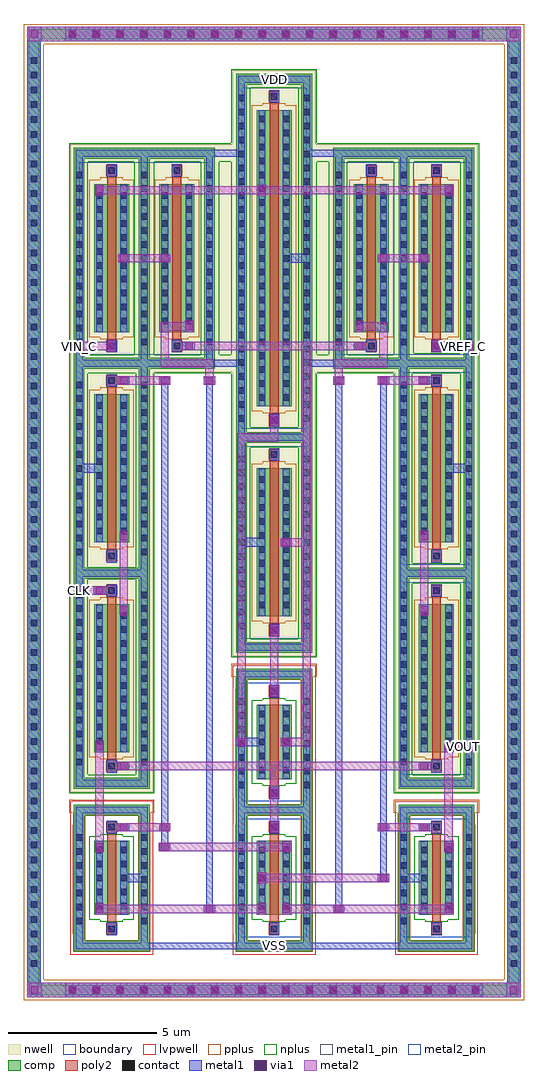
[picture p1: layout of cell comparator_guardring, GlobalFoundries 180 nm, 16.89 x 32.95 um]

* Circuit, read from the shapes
.subckt comparator_guardring CLK VDD VIN_C VOUT VREF_C VSS
XM1 VSS VOUT n1 VSS nfet_03v3 w=2.5u l=0.3u
XM2 VOUT CLK n1 VSS nfet_03v3 w=2.5u l=0.3u
XM3 n2 CLK VSS VSS nfet_03v3 w=2.5u l=0.3u
XM4 VOUT n1 VSS VSS nfet_03v3 w=2.5u l=0.3u
XM5 n3 CLK n1 VDD pfet_03v3 w=5u l=0.3u
XM6 n3 VOUT VDD VDD pfet_03v3 w=5u l=0.3u
XM7 n4 VIN_C n5 VDD pfet_03v3 w=5u l=0.3u
XM8 n1 n2 n4 VDD pfet_03v3 w=5u l=0.3u
XM9 n2 CLK VDD VDD pfet_03v3 w=5u l=0.3u
XM10 VDD VSS n5 VDD pfet_03v3 w=10u l=0.3u
XM11 n6 n2 VOUT VDD pfet_03v3 w=5u l=0.3u
XM12 VOUT CLK n7 VDD pfet_03v3 w=5u l=0.3u
XM13 VDD n1 n7 VDD pfet_03v3 w=5u l=0.3u
XM14 n5 VREF_C n6 VDD pfet_03v3 w=5u l=0.3u
.ends

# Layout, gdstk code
import gdstk
lib = gdstk.Library(unit=1e-6, precision=5e-09)
def R(c, l, rs):  # rectangles x0, y0, x1, y1
    for r in rs: c.add(gdstk.rectangle(r[:2], r[2:], *l))
def A(c, l, x, y, w, h, nx, ny, dx, dy):  # array of equal rectangles
    R(c, l, [(x+i*dx, y+j*dy, x+i*dx+w, y+j*dy+h) for i in range(nx) for j in range(ny)])
def P(c, l, *ps):  # polygons
    for p in ps: c.add(gdstk.Polygon(p, *l))
boundary = (0, 0)
nwell = (21, 0)
comp = (22, 0)
poly2 = (30, 0)
pplus = (31, 0)
nplus = (32, 0)
contact = (33, 0)
metal1 = (34, 0)
metal1_pin = (34, 10)
via1 = (35, 0)
metal2 = (36, 0)
metal2_pin = (36, 10)
lvpwell = (204, 0)

comparator_guardring = lib.new_cell('comparator_guardring')
A(comparator_guardring, boundary, 249.36, 51.16, 2.2, 6.5, 1, 3, 0, 7.09)
R(comparator_guardring, boundary, [(243.88,45.67,246.08,49.67), (249.36,45.67,251.56,49.67), (243.88,50.26,246.08,54.26), (243.88,55.75,246.08,62.25), (243.88,62.84,246.08,74.34), (238.395,65.34,240.595,71.84), (240.595,65.34,242.795,71.84), (247.16,65.34,249.36,71.84)])
A(comparator_guardring, nwell, 249.06, 50.565, 2.8, 7.69, 1, 3, 0, 7.09)
R(comparator_guardring, nwell, [(238.095,50.565,240.895,64.745), (243.58,55.155,246.38,62.845), (243.58,62.245,246.38,74.935), (238.095,64.745,240.895,72.435), (238.28,64.745,243.6,72.435), (240.295,64.745,243.095,72.435), (246.36,64.745,251.445,72.435), (246.86,64.745,249.66,72.435)])
A(comparator_guardring, comp, 237.995, 43.71, 0.36, 0.36, 18, 2, 0.8, 32.27)
A(comparator_guardring, comp, 236.69, 44.595, 0.36, 0.36, 1, 62, 0, 0.5)
A(comparator_guardring, comp, 252.9, 44.595, 0.36, 0.36, 1, 62, 0, 0.5)
A(comparator_guardring, comp, 238.215, 50.685, 2.56, 0.36, 1, 4, 0, 7.09)
A(comparator_guardring, comp, 238.215, 51.045, 0.36, 6.73, 1, 3, 0, 7.09)
A(comparator_guardring, comp, 240.415, 51.045, 0.36, 6.73, 1, 3, 0, 7.09)
A(comparator_guardring, comp, 249.18, 51.045, 0.36, 6.73, 1, 3, 0, 7.09)
A(comparator_guardring, comp, 251.38, 51.045, 0.36, 6.73, 1, 3, 0, 7.09)
A(comparator_guardring, comp, 238.905, 51.91, 1.18, 5, 1, 3, 0, 7.09)
A(comparator_guardring, comp, 249.87, 51.91, 1.18, 5, 1, 3, 0, 7.09)
R(comparator_guardring, comp, [(237.995,43.71,251.955,44.07), (236.69,44.595,237.05,75.455), (252.9,44.595,253.26,75.455), (238.215,45.195,240.775,45.555), (243.7,45.195,246.26,45.555), (249.18,45.195,251.74,45.555), (238.215,45.555,238.575,49.785), (240.415,45.555,240.775,49.785), (243.7,45.555,244.06,49.785), (245.9,45.555,246.26,49.785), (249.18,45.555,249.54,49.785), (251.38,45.555,251.74,49.785), (238.905,46.42,240.085,48.92), (244.39,46.42,245.57,48.92), (249.87,46.42,251.05,48.92), (238.215,49.785,240.775,50.145), (243.7,49.785,246.26,50.145), (243.7,49.785,246.26,50.145), (249.18,49.785,251.74,50.145), (243.7,50.145,244.06,54.375), (245.9,50.145,246.26,54.375), (249.18,50.685,251.74,51.045), (244.39,51.01,245.57,53.51), (243.7,54.375,246.26,54.735), (243.7,55.275,246.26,55.635), (243.7,55.635,244.06,62.365), (245.9,55.635,246.26,62.365), (244.39,56.5,245.57,61.5), (249.18,57.775,251.74,58.135), (249.18,57.775,251.74,58.135), (243.7,62.365,246.26,62.725), (243.7,62.365,246.26,62.725), (243.7,62.725,244.06,74.455), (245.9,62.725,246.26,74.455), (244.39,63.59,245.57,73.59), (238.215,64.865,242.975,65.225), (240.415,64.865,242.975,65.225), (246.98,64.865,249.54,65.225), (249.18,64.865,251.74,65.225), (249.18,64.865,251.74,65.225), (238.215,65.225,238.575,71.955), (240.415,65.225,240.775,71.955), (240.415,65.225,240.775,71.955), (242.615,65.225,242.975,71.955), (242.615,65.225,242.975,71.955), (246.98,65.225,247.34,71.955), (249.18,65.225,249.54,71.955), (238.905,66.09,240.085,71.09), (241.105,66.09,242.285,71.09), (241.105,66.09,242.285,71.09), (247.67,66.09,248.85,71.09), (238.215,71.955,242.975,72.315), (240.415,71.955,242.975,72.315), (246.98,71.955,249.54,72.315), (249.18,71.955,251.74,72.315), (243.7,74.455,246.26,74.815), (237.995,75.98,251.955,76.34)])
P(comparator_guardring, comp, [(236.69,43.71),(236.69,44.07),(237.05,44.07),(252.9,44.07),(252.9,75.98),(237.05,75.98),(237.05,44.07),(236.69,44.07),(236.69,76.34),(253.26,76.34),(253.26,43.71)])
A(comparator_guardring, poly2, 239.345, 51.625, 0.3, 5.57, 1, 3, 0, 7.09)
A(comparator_guardring, poly2, 250.31, 51.625, 0.3, 5.57, 1, 3, 0, 7.09)
R(comparator_guardring, poly2, [(239.315,45.775,239.675,46.135), (244.8,45.775,245.16,46.135), (250.28,45.775,250.64,46.135), (239.345,46.135,239.645,49.205), (244.83,46.135,245.13,49.205), (250.31,46.135,250.61,49.205), (239.315,49.205,239.675,49.565), (244.8,49.205,245.16,49.565), (250.28,49.205,250.64,49.565), (244.8,50.365,245.16,50.725), (244.83,50.725,245.13,53.795), (239.315,51.265,239.675,51.625), (250.28,51.265,250.64,51.625), (244.8,53.795,245.16,54.155), (244.8,55.855,245.16,56.215), (244.83,56.215,245.13,61.785), (239.315,57.195,239.675,57.555), (250.28,57.195,250.64,57.555), (239.315,58.355,239.675,58.715), (250.28,58.355,250.64,58.715), (244.8,61.785,245.16,62.145), (244.8,62.945,245.16,63.305), (244.83,63.305,245.13,73.875), (239.315,64.285,239.675,64.645), (250.28,64.285,250.64,64.645), (239.315,65.445,239.675,65.805), (239.315,65.445,239.675,65.805), (241.515,65.445,241.875,65.805), (241.515,65.445,241.875,65.805), (248.08,65.445,248.44,65.805), (250.28,65.445,250.64,65.805), (239.345,65.805,239.645,71.375), (241.545,65.805,241.845,71.375), (241.545,65.805,241.845,71.375), (248.11,65.805,248.41,71.375), (239.315,71.375,239.675,71.735), (239.315,71.375,239.675,71.735), (241.515,71.375,241.875,71.735), (241.515,71.375,241.875,71.735), (248.08,71.375,248.44,71.735), (250.28,71.375,250.64,71.735), (244.8,73.875,245.16,74.235)])
A(comparator_guardring, pplus, 238.745, 51.75, 1.5, 5.32, 1, 3, 0, 7.09)
A(comparator_guardring, pplus, 249.71, 51.75, 1.5, 5.32, 1, 3, 0, 7.09)
R(comparator_guardring, pplus, [(238.195,45.175,240.795,45.575), (243.68,45.175,246.28,45.575), (249.16,45.175,251.76,45.575), (238.195,45.575,238.605,45.79), (240.385,45.575,240.795,45.79), (243.68,45.575,244.09,45.79), (245.87,45.575,246.28,45.79), (249.16,45.575,249.57,45.79), (251.35,45.575,251.76,45.79), (238.185,45.79,238.605,49.465), (240.385,45.79,240.805,49.465), (243.67,45.79,244.09,49.465), (245.87,45.79,246.29,49.465), (249.15,45.79,249.57,49.465), (251.35,45.79,251.77,49.465), (238.195,49.465,238.605,49.765), (240.385,49.465,240.795,49.765), (243.68,49.465,244.09,49.765), (245.87,49.465,246.28,49.765), (249.16,49.465,249.57,49.765), (251.35,49.465,251.76,49.765), (238.195,49.765,240.795,49.975), (243.68,49.765,246.28,50.165), (243.68,49.765,246.28,50.165), (249.16,49.765,251.76,50.165), (238.055,49.875,240.935,50.305), (249.02,49.875,251.9,50.305), (238.055,49.975,240.935,50.305), (249.02,49.975,249.16,50.165), (251.76,49.975,251.9,50.165), (243.68,50.165,244.09,50.38), (245.87,50.165,246.28,50.38), (249.02,50.165,251.9,50.305), (243.67,50.38,244.09,54.055), (245.87,50.38,246.29,54.055), (239.115,51.68,239.875,51.75), (250.08,51.68,250.84,51.75), (243.68,54.055,244.09,54.355), (245.87,54.055,246.28,54.355), (243.68,54.355,246.28,54.755), (243.54,54.465,246.42,54.895), (243.54,54.565,243.68,54.755), (246.28,54.565,246.42,54.755), (243.54,54.755,246.42,54.895), (244.6,56.27,245.36,56.34), (244.23,56.34,245.73,61.66), (239.115,57.07,239.875,57.14), (250.08,57.07,250.84,57.14), (239.115,58.77,239.875,58.84), (250.08,58.77,250.84,58.84), (244.6,61.66,245.36,61.73), (244.6,63.36,245.36,63.43), (244.23,63.43,245.73,73.75), (239.115,64.16,239.875,64.23), (250.08,64.16,250.84,64.23), (239.115,65.86,239.875,65.93), (239.115,65.86,239.875,65.93), (241.315,65.86,242.075,65.93), (241.315,65.86,242.075,65.93), (247.88,65.86,248.64,65.93), (250.08,65.86,250.84,65.93), (238.745,65.93,240.245,71.25), (240.945,65.93,242.445,71.25), (240.945,65.93,242.445,71.25), (247.51,65.93,249.01,71.25), (239.115,71.25,239.875,71.32), (239.115,71.25,239.875,71.32), (241.315,71.25,242.075,71.32), (241.315,71.25,242.075,71.32), (247.88,71.25,248.64,71.32), (250.08,71.25,250.84,71.32), (244.6,73.75,245.36,73.82)])
P(comparator_guardring, pplus, [(236.53,43.55),(236.53,44.23),(237.21,44.23),(252.74,44.23),(252.74,75.82),(237.21,75.82),(237.21,44.23),(236.53,44.23),(236.53,76.5),(253.42,76.5),(253.42,43.55)])
A(comparator_guardring, nplus, 249.02, 51.155, 0.63, 6.51, 1, 3, 0, 7.09)
A(comparator_guardring, nplus, 251.27, 51.155, 0.63, 6.51, 1, 3, 0, 7.09)
R(comparator_guardring, nplus, [(239.115,46.19,239.875,46.26), (244.6,46.19,245.36,46.26), (250.08,46.19,250.84,46.26), (238.745,46.26,240.245,49.08), (244.23,46.26,245.73,49.08), (249.71,46.26,251.21,49.08), (239.115,49.08,239.875,49.15), (244.6,49.08,245.36,49.15), (250.08,49.08,250.84,49.15), (238.055,50.525,240.935,51.155), (249.02,50.525,251.9,51.155), (244.6,50.78,245.36,50.85), (244.23,50.85,245.73,53.67), (238.055,51.155,238.685,57.755), (240.305,51.155,240.935,57.755), (244.6,53.67,245.36,53.74), (243.54,55.115,246.42,55.745), (243.54,55.745,244.17,62.255), (245.79,55.745,246.42,62.255), (249.02,57.615,251.9,58.245), (249.02,57.665,251.9,58.295), (238.055,57.755,240.935,58.155), (238.055,58.155,238.685,64.845), (240.305,58.155,240.935,64.705), (243.54,62.205,246.42,62.835), (243.54,62.255,246.42,62.885), (243.54,62.835,244.17,74.345), (245.79,62.835,246.42,74.345), (238.055,64.705,240.935,65.335), (240.255,64.705,243.135,65.335), (240.49,64.705,243.54,64.845), (246.42,64.705,251.445,65.335), (246.82,64.705,249.7,65.335), (249.02,64.705,251.9,65.335), (249.02,64.755,251.9,65.385), (238.24,64.845,243.54,65.245), (238.055,65.245,238.685,71.845), (240.49,65.245,243.54,65.335), (238.055,65.335,238.685,71.845), (240.255,65.335,240.885,71.845), (240.305,65.335,240.935,71.845), (240.385,65.335,240.805,71.845), (242.505,65.335,243.135,71.845), (242.585,65.335,243.005,71.845), (246.82,65.335,247.45,71.845), (249.07,65.335,249.7,71.845), (238.055,71.845,240.935,72.475), (238.24,71.845,243.54,72.475), (240.255,71.845,243.135,72.475), (246.42,71.845,251.445,72.475), (246.82,71.845,249.7,72.475), (249.02,71.845,251.9,72.475), (243.54,74.345,246.42,74.975)])
A(comparator_guardring, contact, 238.065, 43.78, 0.22, 0.22, 18, 2, 0.8, 32.27)
A(comparator_guardring, contact, 236.76, 44.665, 0.22, 0.22, 1, 62, 0, 0.5)
A(comparator_guardring, contact, 252.97, 44.665, 0.22, 0.22, 1, 62, 0, 0.5)
A(comparator_guardring, contact, 238.285, 46.105, 0.22, 0.22, 1, 7, 0, 0.47)
A(comparator_guardring, contact, 240.485, 46.105, 0.22, 0.22, 1, 7, 0, 0.47)
A(comparator_guardring, contact, 243.77, 46.105, 0.22, 0.22, 1, 7, 0, 0.47)
A(comparator_guardring, contact, 245.97, 46.105, 0.22, 0.22, 1, 7, 0, 0.47)
A(comparator_guardring, contact, 249.25, 46.105, 0.22, 0.22, 1, 7, 0, 0.47)
A(comparator_guardring, contact, 251.45, 46.105, 0.22, 0.22, 1, 7, 0, 0.47)
A(comparator_guardring, contact, 238.975, 46.62, 0.22, 0.22, 1, 5, 0, 0.47)
A(comparator_guardring, contact, 239.795, 46.62, 0.22, 0.22, 1, 5, 0, 0.47)
A(comparator_guardring, contact, 244.46, 46.62, 0.22, 0.22, 1, 5, 0, 0.47)
A(comparator_guardring, contact, 245.28, 46.62, 0.22, 0.22, 1, 5, 0, 0.47)
A(comparator_guardring, contact, 249.94, 46.62, 0.22, 0.22, 1, 5, 0, 0.47)
A(comparator_guardring, contact, 250.76, 46.62, 0.22, 0.22, 1, 5, 0, 0.47)
A(comparator_guardring, contact, 243.77, 50.695, 0.22, 0.22, 1, 7, 0, 0.47)
A(comparator_guardring, contact, 245.97, 50.695, 0.22, 0.22, 1, 7, 0, 0.47)
A(comparator_guardring, contact, 244.46, 51.21, 0.22, 0.22, 1, 5, 0, 0.47)
A(comparator_guardring, contact, 245.28, 51.21, 0.22, 0.22, 1, 5, 0, 0.47)
A(comparator_guardring, contact, 238.285, 51.48, 0.22, 0.22, 1, 13, 0, 0.47)
A(comparator_guardring, contact, 240.485, 51.48, 0.22, 0.22, 1, 13, 0, 0.47)
A(comparator_guardring, contact, 249.25, 51.48, 0.22, 0.22, 1, 13, 0, 0.47)
A(comparator_guardring, contact, 251.45, 51.48, 0.22, 0.22, 1, 13, 0, 0.47)
A(comparator_guardring, contact, 238.975, 52.185, 0.22, 0.22, 1, 10, 0, 0.47)
A(comparator_guardring, contact, 239.795, 52.185, 0.22, 0.22, 1, 10, 0, 0.47)
A(comparator_guardring, contact, 249.94, 52.185, 0.22, 0.22, 1, 10, 0, 0.47)
A(comparator_guardring, contact, 250.76, 52.185, 0.22, 0.22, 1, 10, 0, 0.47)
A(comparator_guardring, contact, 243.77, 56.07, 0.22, 0.22, 1, 13, 0, 0.47)
A(comparator_guardring, contact, 245.97, 56.07, 0.22, 0.22, 1, 13, 0, 0.47)
A(comparator_guardring, contact, 244.46, 56.775, 0.22, 0.22, 1, 10, 0, 0.47)
A(comparator_guardring, contact, 245.28, 56.775, 0.22, 0.22, 1, 10, 0, 0.47)
A(comparator_guardring, contact, 238.285, 58.57, 0.22, 0.22, 1, 13, 0, 0.47)
A(comparator_guardring, contact, 240.485, 58.57, 0.22, 0.22, 1, 13, 0, 0.47)
A(comparator_guardring, contact, 249.25, 58.57, 0.22, 0.22, 1, 13, 0, 0.47)
A(comparator_guardring, contact, 251.45, 58.57, 0.22, 0.22, 1, 13, 0, 0.47)
A(comparator_guardring, contact, 238.975, 59.275, 0.22, 0.22, 1, 10, 0, 0.47)
A(comparator_guardring, contact, 239.795, 59.275, 0.22, 0.22, 1, 10, 0, 0.47)
A(comparator_guardring, contact, 249.94, 59.275, 0.22, 0.22, 1, 10, 0, 0.47)
A(comparator_guardring, contact, 250.76, 59.275, 0.22, 0.22, 1, 10, 0, 0.47)
A(comparator_guardring, contact, 243.77, 63.075, 0.22, 0.22, 1, 24, 0, 0.47)
A(comparator_guardring, contact, 245.97, 63.075, 0.22, 0.22, 1, 24, 0, 0.47)
A(comparator_guardring, contact, 244.46, 63.78, 0.22, 0.22, 1, 21, 0, 0.47)
A(comparator_guardring, contact, 245.28, 63.78, 0.22, 0.22, 1, 21, 0, 0.47)
A(comparator_guardring, contact, 247.05, 65.66, 0.22, 0.22, 1, 13, 0, 0.47)
A(comparator_guardring, contact, 251.45, 65.66, 0.22, 0.22, 1, 13, 0, 0.47)
A(comparator_guardring, contact, 247.74, 66.365, 0.22, 0.22, 1, 10, 0, 0.47)
A(comparator_guardring, contact, 248.56, 66.365, 0.22, 0.22, 1, 10, 0, 0.47)
A(comparator_guardring, contact, 249.94, 66.365, 0.22, 0.22, 1, 10, 0, 0.47)
A(comparator_guardring, contact, 250.76, 66.365, 0.22, 0.22, 1, 10, 0, 0.47)
R(comparator_guardring, contact, [(239.385,45.845,239.605,46.065), (244.87,45.845,245.09,46.065), (250.35,45.845,250.57,46.065), (239.385,49.275,239.605,49.495), (244.87,49.275,245.09,49.495), (250.35,49.275,250.57,49.495), (244.87,50.435,245.09,50.655), (239.385,51.335,239.605,51.555), (250.35,51.335,250.57,51.555), (244.87,53.865,245.09,54.085), (244.87,55.925,245.09,56.145), (239.385,57.265,239.605,57.485), (250.35,57.265,250.57,57.485), (239.385,58.425,239.605,58.645), (250.35,58.425,250.57,58.645), (244.87,61.855,245.09,62.075), (244.87,63.015,245.09,63.235), (239.385,64.355,239.605,64.575), (250.35,64.355,250.57,64.575), (239.385,65.515,239.605,65.735), (239.385,65.515,239.605,65.735), (241.585,65.515,241.805,65.735), (241.585,65.515,241.805,65.735), (248.15,65.515,248.37,65.735), (250.35,65.515,250.57,65.735), (238.285,65.66,238.505,65.88), (238.285,65.66,238.505,65.88), (240.485,65.66,240.705,65.88), (240.485,65.66,240.705,65.88), (240.485,65.66,240.705,65.88), (242.685,65.66,242.905,65.88), (242.685,65.66,242.905,65.88), (249.25,65.66,249.47,65.88), (249.25,65.66,249.47,65.88), (238.285,66.13,238.505,66.35), (238.285,66.13,238.505,66.35), (240.485,66.13,240.705,66.35), (240.485,66.13,240.705,66.35), (240.485,66.13,240.705,66.35), (242.685,66.13,242.905,66.35), (242.685,66.13,242.905,66.35), (249.25,66.13,249.47,66.35), (249.25,66.13,249.47,66.35), (238.975,66.365,239.195,66.585), (238.975,66.365,239.195,66.585), (239.795,66.365,240.015,66.585), (239.795,66.365,240.015,66.585), (241.175,66.365,241.395,66.585), (241.175,66.365,241.395,66.585), (241.995,66.365,242.215,66.585), (241.995,66.365,242.215,66.585), (238.285,66.6,238.505,66.82), (238.285,66.6,238.505,66.82), (240.485,66.6,240.705,66.82), (240.485,66.6,240.705,66.82), (240.485,66.6,240.705,66.82), (242.685,66.6,242.905,66.82), (242.685,66.6,242.905,66.82), (249.25,66.6,249.47,66.82), (249.25,66.6,249.47,66.82), (238.975,66.835,239.195,67.055), (238.975,66.835,239.195,67.055), (239.795,66.835,240.015,67.055), (239.795,66.835,240.015,67.055), (241.175,66.835,241.395,67.055), (241.175,66.835,241.395,67.055), (241.995,66.835,242.215,67.055), (241.995,66.835,242.215,67.055), (238.285,67.07,238.505,67.29), (238.285,67.07,238.505,67.29), (240.485,67.07,240.705,67.29), (240.485,67.07,240.705,67.29), (240.485,67.07,240.705,67.29), (242.685,67.07,242.905,67.29), (242.685,67.07,242.905,67.29), (249.25,67.07,249.47,67.29), (249.25,67.07,249.47,67.29), (238.975,67.305,239.195,67.525), (238.975,67.305,239.195,67.525), (239.795,67.305,240.015,67.525), (239.795,67.305,240.015,67.525), (241.175,67.305,241.395,67.525), (241.175,67.305,241.395,67.525), (241.995,67.305,242.215,67.525), (241.995,67.305,242.215,67.525), (238.285,67.54,238.505,67.76), (238.285,67.54,238.505,67.76), (240.485,67.54,240.705,67.76), (240.485,67.54,240.705,67.76), (240.485,67.54,240.705,67.76), (242.685,67.54,242.905,67.76), (242.685,67.54,242.905,67.76), (249.25,67.54,249.47,67.76), (249.25,67.54,249.47,67.76), (238.975,67.775,239.195,67.995), (238.975,67.775,239.195,67.995), (239.795,67.775,240.015,67.995), (239.795,67.775,240.015,67.995), (241.175,67.775,241.395,67.995), (241.175,67.775,241.395,67.995), (241.995,67.775,242.215,67.995), (241.995,67.775,242.215,67.995), (238.285,68.01,238.505,68.23), (238.285,68.01,238.505,68.23), (240.485,68.01,240.705,68.23), (240.485,68.01,240.705,68.23), (240.485,68.01,240.705,68.23), (242.685,68.01,242.905,68.23), (242.685,68.01,242.905,68.23), (249.25,68.01,249.47,68.23), (249.25,68.01,249.47,68.23), (238.975,68.245,239.195,68.465), (238.975,68.245,239.195,68.465), (239.795,68.245,240.015,68.465), (239.795,68.245,240.015,68.465), (241.175,68.245,241.395,68.465), (241.175,68.245,241.395,68.465), (241.995,68.245,242.215,68.465), (241.995,68.245,242.215,68.465), (238.285,68.48,238.505,68.7), (238.285,68.48,238.505,68.7), (240.485,68.48,240.705,68.7), (240.485,68.48,240.705,68.7), (240.485,68.48,240.705,68.7), (242.685,68.48,242.905,68.7), (242.685,68.48,242.905,68.7), (249.25,68.48,249.47,68.7), (249.25,68.48,249.47,68.7), (238.975,68.715,239.195,68.935), (238.975,68.715,239.195,68.935), (239.795,68.715,240.015,68.935), (239.795,68.715,240.015,68.935), (241.175,68.715,241.395,68.935), (241.175,68.715,241.395,68.935), (241.995,68.715,242.215,68.935), (241.995,68.715,242.215,68.935), (238.285,68.95,238.505,69.17), (238.285,68.95,238.505,69.17), (240.485,68.95,240.705,69.17), (240.485,68.95,240.705,69.17), (240.485,68.95,240.705,69.17), (242.685,68.95,242.905,69.17), (242.685,68.95,242.905,69.17), (249.25,68.95,249.47,69.17), (249.25,68.95,249.47,69.17), (238.975,69.185,239.195,69.405), (238.975,69.185,239.195,69.405), (239.795,69.185,240.015,69.405), (239.795,69.185,240.015,69.405), (241.175,69.185,241.395,69.405), (241.175,69.185,241.395,69.405), (241.995,69.185,242.215,69.405), (241.995,69.185,242.215,69.405), (238.285,69.42,238.505,69.64), (238.285,69.42,238.505,69.64), (240.485,69.42,240.705,69.64), (240.485,69.42,240.705,69.64), (240.485,69.42,240.705,69.64), (242.685,69.42,242.905,69.64), (242.685,69.42,242.905,69.64), (249.25,69.42,249.47,69.64), (249.25,69.42,249.47,69.64), (238.975,69.655,239.195,69.875), (238.975,69.655,239.195,69.875), (239.795,69.655,240.015,69.875), (239.795,69.655,240.015,69.875), (241.175,69.655,241.395,69.875), (241.175,69.655,241.395,69.875), (241.995,69.655,242.215,69.875), (241.995,69.655,242.215,69.875), (238.285,69.89,238.505,70.11), (238.285,69.89,238.505,70.11), (240.485,69.89,240.705,70.11), (240.485,69.89,240.705,70.11), (240.485,69.89,240.705,70.11), (242.685,69.89,242.905,70.11), (242.685,69.89,242.905,70.11), (249.25,69.89,249.47,70.11), (249.25,69.89,249.47,70.11), (238.975,70.125,239.195,70.345), (238.975,70.125,239.195,70.345), (239.795,70.125,240.015,70.345), (239.795,70.125,240.015,70.345), (241.175,70.125,241.395,70.345), (241.175,70.125,241.395,70.345), (241.995,70.125,242.215,70.345), (241.995,70.125,242.215,70.345), (238.285,70.36,238.505,70.58), (238.285,70.36,238.505,70.58), (240.485,70.36,240.705,70.58), (240.485,70.36,240.705,70.58), (240.485,70.36,240.705,70.58), (242.685,70.36,242.905,70.58), (242.685,70.36,242.905,70.58), (249.25,70.36,249.47,70.58), (249.25,70.36,249.47,70.58), (238.975,70.595,239.195,70.815), (238.975,70.595,239.195,70.815), (239.795,70.595,240.015,70.815), (239.795,70.595,240.015,70.815), (241.175,70.595,241.395,70.815), (241.175,70.595,241.395,70.815), (241.995,70.595,242.215,70.815), (241.995,70.595,242.215,70.815), (238.285,70.83,238.505,71.05), (238.285,70.83,238.505,71.05), (240.485,70.83,240.705,71.05), (240.485,70.83,240.705,71.05), (240.485,70.83,240.705,71.05), (242.685,70.83,242.905,71.05), (242.685,70.83,242.905,71.05), (249.25,70.83,249.47,71.05), (249.25,70.83,249.47,71.05), (238.285,71.3,238.505,71.52), (238.285,71.3,238.505,71.52), (240.485,71.3,240.705,71.52), (240.485,71.3,240.705,71.52), (240.485,71.3,240.705,71.52), (242.685,71.3,242.905,71.52), (242.685,71.3,242.905,71.52), (249.25,71.3,249.47,71.52), (249.25,71.3,249.47,71.52), (239.385,71.445,239.605,71.665), (239.385,71.445,239.605,71.665), (241.585,71.445,241.805,71.665), (241.585,71.445,241.805,71.665), (248.15,71.445,248.37,71.665), (250.35,71.445,250.57,71.665), (244.87,73.945,245.09,74.165)])
A(comparator_guardring, metal1, 237.925, 43.64, 0.5, 0.5, 18, 2, 0.8, 32.27)
A(comparator_guardring, metal1, 236.64, 44.545, 0.46, 0.46, 1, 62, 0, 0.5)
A(comparator_guardring, metal1, 252.85, 44.545, 0.46, 0.46, 1, 62, 0, 0.5)
A(comparator_guardring, metal1, 238.28, 50.75, 2.43, 0.23, 1, 4, 0, 7.09)
A(comparator_guardring, metal1, 240.48, 50.98, 0.23, 6.86, 1, 3, 0, 7.09)
A(comparator_guardring, metal1, 249.245, 50.98, 0.23, 6.86, 1, 3, 0, 7.09)
A(comparator_guardring, metal1, 251.445, 50.98, 0.23, 6.86, 1, 3, 0, 7.09)
A(comparator_guardring, metal1, 249.935, 51.92, 0.23, 4.98, 1, 3, 0, 7.09)
A(comparator_guardring, metal1, 250.755, 51.92, 0.23, 4.98, 1, 3, 0, 7.09)
R(comparator_guardring, metal1, [(236.64,43.64,237.1,44.07), (236.64,43.64,237.14,44.14), (236.64,43.64,237.14,44.14), (237.925,43.64,252.025,44.14), (252.81,43.64,253.31,44.14), (252.81,43.64,253.31,44.14), (252.85,43.64,253.31,44.07), (236.64,44.07,237.1,75.98), (252.85,44.07,253.31,75.98), (238.28,45.26,238.465,45.49), (238.465,45.26,250.355,45.49), (243.765,45.26,246.195,45.49), (249.245,45.26,251.675,45.49), (238.28,45.49,238.51,49.85), (240.48,45.49,240.71,47.52), (243.765,45.49,243.995,49.85), (245.965,45.49,246.195,49.85), (249.245,45.49,249.475,49.85), (251.445,45.49,251.675,49.85), (239.325,45.74,239.665,46.17), (244.81,45.74,245.15,46.17), (250.29,45.74,250.63,46.17), (238.955,46.43,239.215,46.81), (239.79,46.43,240.02,47.52), (244.44,46.43,244.7,46.81), (244.455,46.43,244.685,48.91), (245.26,46.43,245.52,46.81), (245.275,46.43,245.505,48.91), (249.935,46.43,250.165,48.91), (250.74,46.43,251,46.81), (250.755,46.43,250.985,48.91), (242.605,46.49,242.985,46.75), (246.97,46.49,247.35,46.75), (242.68,46.75,242.91,64.335), (247.045,46.75,247.275,64.335), (238.97,46.81,239.2,48.53), (244.44,47.48,244.715,47.86), (239.79,47.52,240.71,47.82), (249.34,47.52,249.945,47.82), (248.48,47.54,248.86,47.8), (248.555,47.8,248.785,49.255), (239.79,47.82,240.02,48.91), (240.48,47.82,240.71,49.85), (238.955,48.53,239.215,48.91), (245.26,48.53,245.52,48.91), (250.74,48.53,251,48.91), (241.095,48.59,241.475,48.85), (241.17,48.85,241.4,49.255), (239.325,49.17,239.665,49.255), (244.81,49.17,245.15,49.6), (250.29,49.17,250.63,49.6), (239.325,49.255,240.095,49.515), (241.095,49.255,241.475,49.515), (244.85,49.255,245.11,49.515), (248.48,49.255,248.86,49.515), (249.86,49.255,250.415,49.52), (239.325,49.515,239.665,49.6), (241.17,49.515,241.4,64.335), (248.555,49.515,248.785,64.335), (238.28,49.85,240.71,50.08), (243.765,49.85,246.195,50.08), (243.765,49.85,246.195,50.08), (249.245,49.85,251.675,50.08), (243.765,50.08,243.995,54.44), (245.965,50.08,246.195,54.44), (244.81,50.33,245.15,50.76), (244.85,50.415,245.11,50.675), (249.245,50.75,251.675,50.98), (238.28,50.98,238.51,57.84), (244.455,51.02,244.685,53.5), (245.275,51.02,245.505,53.5), (239.325,51.23,239.665,51.315), (250.29,51.23,250.63,51.66), (239.325,51.315,240.095,51.575), (249.86,51.315,250.315,51.575), (239.325,51.575,239.665,51.66), (238.955,51.92,239.215,52.3), (239.79,51.92,240.02,56.52), (250.74,51.92,251,52.3), (243.885,52.11,244.59,52.13), (243.69,52.13,244.59,52.26), (245.2,52.13,245.58,52.39), (243.69,52.26,244.595,52.39), (238.97,52.3,239.2,56.9), (243.89,52.39,244.595,52.41), (244.81,53.76,245.15,54.19), (244.85,53.845,245.11,54.105), (243.765,54.44,246.195,54.67), (243.765,55.34,246.195,55.57), (243.765,55.57,243.995,62.43), (245.965,55.57,246.195,62.43), (244.81,55.82,245.15,56.25), (244.85,55.905,245.11,56.165), (244.455,56.51,244.685,61.49), (245.275,56.51,245.505,61.49), (239.775,56.52,240.035,56.9), (249.92,56.52,250.18,56.9), (239.325,57.16,239.665,57.245), (250.29,57.16,250.63,57.59), (238.895,57.245,239.665,57.505), (239.325,57.505,239.665,57.59), (249.245,57.84,251.675,58.07), (249.245,57.84,251.675,58.07), (238.28,58.07,238.51,61.35), (239.325,58.32,239.665,58.75), (250.29,58.32,250.63,58.75), (243.87,58.85,244.585,59), (245.2,58.87,245.58,59.13), (243.875,59,244.59,59.15), (238.97,59.01,239.2,61.35), (239.775,59.01,240.035,59.39), (249.92,59.01,250.18,59.39), (239.79,59.39,240.02,63.99), (238.28,61.35,239.2,61.65), (250.955,61.35,251.505,61.65), (238.28,61.65,238.51,64.93), (238.97,61.65,239.2,63.99), (244.81,61.75,245.15,62.18), (243.765,62.43,246.195,62.66), (243.765,62.43,246.195,62.66), (243.765,62.66,243.995,74.52), (245.965,62.66,246.195,74.52), (244.81,62.91,245.15,63.34), (244.85,62.995,245.11,63.255), (244.455,63.6,244.685,73.58), (245.275,63.6,245.505,73.58), (239.325,64.25,239.665,64.335), (250.29,64.25,250.63,64.68), (239.325,64.335,240.095,64.595), (241.095,64.335,241.475,64.595), (242.605,64.335,242.985,64.595), (246.97,64.335,247.35,64.595), (248.48,64.335,248.86,64.595), (249.86,64.335,250.305,64.595), (239.325,64.595,239.665,64.68), (238.465,64.93,243.955,65.16), (240.48,64.93,242.91,65.16), (245.98,64.93,246.9,65.16), (246.9,64.93,247.045,65.16), (247.045,64.93,249.475,65.16), (249.245,64.93,251.675,65.16), (249.245,64.93,251.675,65.16), (238.28,65.16,238.51,72.02), (238.28,65.16,238.51,72.02), (240.48,65.16,240.71,72.02), (240.48,65.16,240.71,72.02), (242.68,65.16,242.91,72.02), (242.68,65.16,242.91,72.02), (247.045,65.16,247.275,72.02), (249.245,65.16,249.475,72.02), (239.325,65.41,239.665,65.84), (239.325,65.41,239.665,65.84), (241.525,65.41,241.865,65.84), (241.525,65.41,241.865,65.495), (248.09,65.41,248.43,65.84), (250.29,65.41,250.63,65.84), (241.525,65.495,242.295,65.755), (247.66,65.495,248.095,65.755), (248.095,65.495,248.43,65.755), (250.33,65.495,250.59,65.755), (241.525,65.755,241.865,65.84), (238.97,66.1,239.2,71.08), (238.97,66.1,239.2,70.7), (239.79,66.1,240.02,71.08), (239.79,66.1,240.02,68.46), (241.17,66.1,241.4,71.08), (241.17,66.1,241.4,68.46), (241.975,66.1,242.235,66.48), (241.99,66.1,242.22,71.08), (247.72,66.1,247.98,66.48), (247.735,66.1,247.965,71.08), (248.555,66.1,248.785,71.08), (241.99,66.48,242.22,71.08), (245.275,68.44,245.975,68.74), (239.715,68.46,240.095,68.72), (241.095,68.46,241.475,68.72), (248.48,68.46,248.86,68.72), (249.86,68.46,250.24,68.72), (239.79,68.72,240.02,71.08), (241.17,68.72,241.4,71.08), (238.955,70.7,239.215,71.08), (244.44,70.7,244.7,71.08), (250.74,70.7,251,71.08), (239.325,71.34,239.665,71.77), (239.325,71.34,239.665,71.77), (241.525,71.34,241.865,71.77), (241.525,71.34,241.865,71.77), (248.09,71.34,248.43,71.77), (250.29,71.34,250.63,71.77), (238.465,72.02,243.765,72.25), (240.48,72.02,242.91,72.25), (246.175,72.02,247.095,72.25), (247.045,72.02,249.475,72.25), (249.245,72.02,251.675,72.25), (244.81,73.84,245.15,74.27), (243.765,74.52,246.195,74.75), (244.865,74.52,245.095,74.75), (236.64,75.91,237.14,76.41), (236.64,75.91,237.14,76.41), (237.925,75.91,252.025,76.41), (252.81,75.91,253.31,76.41), (252.81,75.91,253.31,76.41), (236.64,75.98,237.1,76.41), (252.85,75.98,253.31,76.41)])
R(comparator_guardring, metal1_pin, [(244.865,45.26,245.095,45.49), (244.865,74.52,245.095,74.75)])
A(comparator_guardring, via1, 238.045, 43.76, 0.26, 0.26, 18, 2, 0.8, 32.27)
R(comparator_guardring, via1, [(236.76,43.76,237.02,44.02), (252.93,43.76,253.19,44.02), (238.955,46.49,239.215,46.75), (242.665,46.49,242.925,46.75), (244.44,46.49,244.7,46.75), (245.26,46.49,245.52,46.75), (247.03,46.49,247.29,46.75), (250.74,46.49,251,46.75), (244.445,47.54,244.705,47.8), (248.54,47.54,248.8,47.8), (238.955,48.59,239.215,48.85), (241.155,48.59,241.415,48.85), (245.26,48.59,245.52,48.85), (250.74,48.59,251,48.85), (239.775,49.255,240.035,49.515), (241.155,49.255,241.415,49.515), (244.85,49.255,245.11,49.515), (248.54,49.255,248.8,49.515), (249.92,49.255,250.18,49.515), (244.85,50.415,245.11,50.675), (239.775,51.315,240.035,51.575), (249.92,51.315,250.18,51.575), (238.955,51.98,239.215,52.24), (250.74,51.98,251,52.24), (243.75,52.13,244.01,52.39), (245.26,52.13,245.52,52.39), (244.85,53.845,245.11,54.105), (244.85,55.905,245.11,56.165), (239.775,56.58,240.035,56.84), (249.92,56.58,250.18,56.84), (238.955,57.245,239.215,57.505), (245.26,58.87,245.52,59.13), (239.775,59.07,240.035,59.33), (249.92,59.07,250.18,59.33), (244.85,62.995,245.11,63.255), (239.775,64.335,240.035,64.595), (241.155,64.335,241.415,64.595), (242.665,64.335,242.925,64.595), (247.03,64.335,247.29,64.595), (248.54,64.335,248.8,64.595), (249.92,64.335,250.18,64.595), (239.365,65.495,239.625,65.755), (241.975,65.495,242.235,65.755), (247.72,65.495,247.98,65.755), (250.33,65.495,250.59,65.755), (241.975,66.16,242.235,66.42), (247.72,66.16,247.98,66.42), (239.775,68.46,240.035,68.72), (241.155,68.46,241.415,68.72), (248.54,68.46,248.8,68.72), (249.92,68.46,250.18,68.72), (238.955,70.76,239.215,71.02), (244.44,70.76,244.7,71.02), (250.74,70.76,251,71.02), (236.76,76.03,237.02,76.29), (252.93,76.03,253.19,76.29)])
A(comparator_guardring, metal2, 237.925, 43.64, 0.5, 0.5, 18, 2, 0.8, 32.27)
R(comparator_guardring, metal2, [(236.64,43.64,237.05,44.14), (236.64,43.64,237.14,44.14), (236.64,43.64,237.14,44.14), (237.05,43.64,252.9,44.14), (252.81,43.64,253.31,44.14), (252.81,43.64,253.31,44.14), (252.9,43.64,253.31,44.14), (238.945,46.43,239.225,46.48), (244.43,46.43,244.71,46.48), (245.25,46.43,245.53,46.48), (250.73,46.43,251.01,46.48), (238.945,46.48,239.13,46.76), (239.13,46.48,244.71,46.76), (245.25,46.48,250.83,46.76), (250.83,46.48,251.01,46.76), (238.945,46.76,239.225,46.81), (244.43,46.76,244.71,46.81), (245.25,46.76,245.53,46.81), (250.73,46.76,251.01,46.81), (244.43,47.48,244.725,47.53), (244.43,47.53,248.68,47.81), (248.68,47.53,248.87,47.81), (244.43,47.81,244.725,47.86), (238.945,48.53,239.225,52.3), (245.25,48.53,245.53,48.58), (250.73,48.53,251.01,51.97), (241.08,48.58,241.28,48.86), (241.28,48.58,245.53,48.86), (245.25,48.86,245.53,48.91), (244.84,49.195,245.12,51.305), (239.715,49.245,241.475,49.525), (248.48,49.245,250.24,49.525), (239.695,51.305,239.9,51.585), (239.9,51.305,250.06,51.585), (250.06,51.305,250.29,51.585), (250.73,51.97,251.7,52.25), (243.69,52.12,244.07,52.4), (245.2,52.12,246.22,52.4), (250.73,52.25,251.01,52.3), (243.74,52.4,244.02,62.405), (245.94,52.4,246.22,58.86), (244.84,53.785,245.12,56.225), (239.765,56.52,240.045,59.39), (249.91,56.52,250.19,59.39), (238.255,57.235,239.275,57.515), (245.2,58.86,246.22,59.14), (245.94,59.14,246.22,65.485), (243.74,62.405,245.12,62.685), (244.84,62.685,245.12,63.315), (239.715,64.325,241.475,64.605), (242.605,64.325,242.985,64.605), (246.97,64.325,247.35,64.605), (248.48,64.325,250.24,64.605), (242.655,64.605,242.935,64.905), (247.02,64.605,247.3,64.905), (241.145,64.905,242.935,65.185), (247.02,64.905,248.81,65.185), (241.145,65.185,241.425,66.15), (248.53,65.185,248.81,66.15), (239.355,65.435,239.635,65.485), (250.32,65.435,250.6,65.485), (238.255,65.485,239.635,65.765), (241.885,65.485,242.1,65.765), (242.1,65.485,247.86,65.765), (247.86,65.485,248.045,65.765), (250.32,65.485,251.7,65.765), (239.355,65.765,239.635,65.815), (250.32,65.765,250.6,65.815), (241.965,66.1,242.245,66.15), (247.71,66.1,247.99,66.15), (241.145,66.15,242.245,66.43), (247.71,66.15,248.81,66.43), (241.965,66.43,242.245,66.48), (247.71,66.43,247.99,66.48), (239.715,68.45,241.475,68.73), (248.48,68.45,250.24,68.73), (238.945,70.7,239.225,70.75), (244.43,70.7,244.71,70.75), (250.73,70.7,251.01,70.75), (238.945,70.75,239.13,71.03), (239.13,70.75,250.83,71.03), (250.83,70.75,251.01,71.03), (238.945,71.03,239.225,71.08), (244.43,71.03,244.71,71.08), (250.73,71.03,251.01,71.08), (236.64,75.91,237.05,76.41), (236.64,75.91,237.14,76.41), (236.64,75.91,237.14,76.41), (237.05,75.91,252.9,76.41), (252.81,75.91,253.31,76.41), (252.81,75.91,253.31,76.41), (252.9,75.91,253.31,76.41)])
R(comparator_guardring, metal2_pin, [(251.24,51.97,251.52,52.25), (238.255,57.235,238.535,57.515), (238.255,65.485,238.535,65.765), (251.24,65.485,251.52,65.765)])
R(comparator_guardring, lvpwell, [(238.095,45.075,240.895,50.265), (243.58,45.075,246.38,50.265), (249.06,45.075,251.86,50.265), (243.58,49.665,246.38,54.855), (238.175,50.265,240.895,50.27)])
comparator_guardring.add(gdstk.Label('VOUT', (251.38,52.11), layer=36, texttype=10))
comparator_guardring.add(gdstk.Label('VREF_C', (251.38,65.625), layer=36, texttype=10))
comparator_guardring.add(gdstk.Label('CLK', (238.395,57.375), layer=36, texttype=10))
comparator_guardring.add(gdstk.Label('VIN_C', (238.395,65.625), layer=36, texttype=10))
comparator_guardring.add(gdstk.Label('VDD', (244.98,74.635), layer=34, texttype=10))
comparator_guardring.add(gdstk.Label('VSS', (244.98,45.375), layer=34, texttype=10))

lib.write_gds('comparator_guardring.gds')
